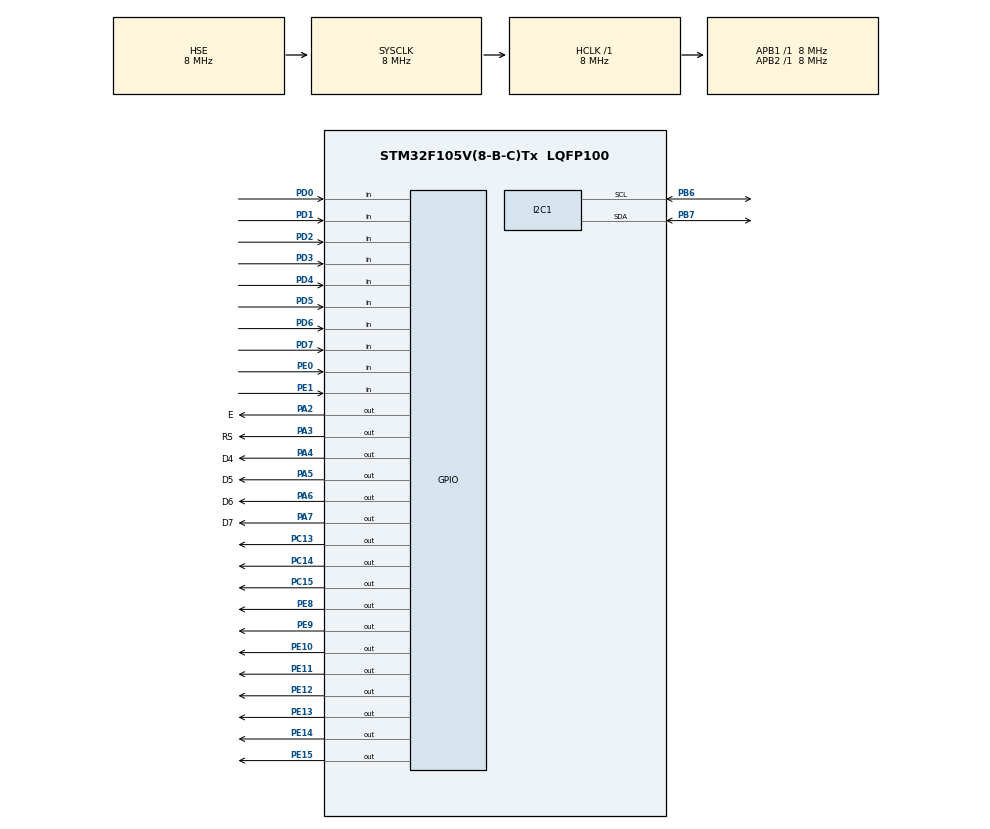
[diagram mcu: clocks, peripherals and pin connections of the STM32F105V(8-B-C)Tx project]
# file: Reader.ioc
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Mcu.Family=STM32F1
Mcu.Name=STM32F105V(8-B-C)Tx
Mcu.Package=LQFP100
NVIC.PriorityGroup=NVIC_PRIORITYGROUP_4
OSC_IN.Mode=HSE-External-Oscillator
OSC_IN.Signal=RCC_OSC_IN
OSC_OUT.Mode=HSE-External-Oscillator
OSC_OUT.Signal=RCC_OSC_OUT
PA13.Mode=Serial_Wire
PA13.Signal=SYS_JTMS-SWDIO
PA14.Mode=Serial_Wire
PA14.Signal=SYS_JTCK-SWCLK
PA2.GPIO_Label=E
PA2.GPIO_ModeDefaultOutputPP=GPIO_MODE_OUTPUT_PP
PA2.GPIO_PuPd=GPIO_PULLDOWN
PA2.GPIO_Speed=GPIO_SPEED_FREQ_LOW
PA2.PinState=GPIO_PIN_RESET
PA2.Signal=GPIO_Output
PA3.GPIO_Label=RS
PA3.GPIO_ModeDefaultOutputPP=GPIO_MODE_OUTPUT_PP
PA3.GPIO_PuPd=GPIO_PULLDOWN
PA3.GPIO_Speed=GPIO_SPEED_FREQ_LOW
PA3.PinState=GPIO_PIN_RESET
PA3.Signal=GPIO_Output
PA4.GPIO_Label=D4
PA4.GPIO_ModeDefaultOutputPP=GPIO_MODE_OUTPUT_PP
PA4.GPIO_PuPd=GPIO_PULLDOWN
PA4.GPIO_Speed=GPIO_SPEED_FREQ_LOW
PA4.PinState=GPIO_PIN_RESET
PA4.Signal=GPIO_Output
PA5.GPIO_Label=D5
PA5.GPIO_ModeDefaultOutputPP=GPIO_MODE_OUTPUT_PP
PA5.GPIO_PuPd=GPIO_PULLDOWN
PA5.GPIO_Speed=GPIO_SPEED_FREQ_LOW
PA5.PinState=GPIO_PIN_RESET
PA5.Signal=GPIO_Output
PA6.GPIO_Label=D6
PA6.GPIO_ModeDefaultOutputPP=GPIO_MODE_OUTPUT_PP
PA6.GPIO_PuPd=GPIO_PULLDOWN
PA6.GPIO_Speed=GPIO_SPEED_FREQ_LOW
PA6.PinState=GPIO_PIN_RESET
PA6.Signal=GPIO_Output
PA7.GPIO_Label=D7
PA7.GPIO_ModeDefaultOutputPP=GPIO_MODE_OUTPUT_PP
PA7.GPIO_PuPd=GPIO_PULLDOWN
PA7.GPIO_Speed=GPIO_SPEED_FREQ_LOW
PA7.PinState=GPIO_PIN_RESET
PA7.Signal=GPIO_Output
PB6.Mode=I2C
PB6.Signal=I2C1_SCL
PB7.Mode=I2C
PB7.Signal=I2C1_SDA
PC13-TAMPER-RTC.GPIO_ModeDefaultOutputPP=GPIO_MODE_OUTPUT_OD
PC13-TAMPER-RTC.GPIO_PuPd=GPIO_NOPULL
PC13-TAMPER-RTC.PinState=GPIO_PIN_RESET
PC13-TAMPER-RTC.Signal=GPIO_Output
PC14-OSC32_IN.GPIO_ModeDefaultOutputPP=GPIO_MODE_OUTPUT_OD
PC14-OSC32_IN.GPIO_PuPd=GPIO_NOPULL
PC14-OSC32_IN.PinState=GPIO_PIN_RESET
PC14-OSC32_IN.Signal=GPIO_Output
PC15-OSC32_OUT.GPIO_ModeDefaultOutputPP=GPIO_MODE_OUTPUT_OD
PC15-OSC32_OUT.GPIO_PuPd=GPIO_NOPULL
PC15-OSC32_OUT.PinState=GPIO_PIN_RESET
PC15-OSC32_OUT.Signal=GPIO_Output
PD0.Signal=GPIO_Input
PD1.Signal=GPIO_Input
PD2.Signal=GPIO_Input
PD3.Signal=GPIO_Input
PD4.Signal=GPIO_Input
PD5.Signal=GPIO_Input
PD6.Signal=GPIO_Input
PD7.Signal=GPIO_Input
PE0.Signal=GPIO_Input
PE1.Signal=GPIO_Input
PE10.Signal=GPIO_Output
PE11.Signal=GPIO_Output
PE12.Signal=GPIO_Output
PE13.Signal=GPIO_Output
PE14.Signal=GPIO_Output
PE15.Signal=GPIO_Output
PE8.Signal=GPIO_Output
PE9.Signal=GPIO_Output
ProjectManager.HeapSize=0x200
ProjectManager.StackSize=0x400
ProjectManager.TargetToolchain=STM32CubeIDE
RCC.AHBFreq_Value=8000000
RCC.APB1Freq_Value=8000000
RCC.APB1TimFreq_Value=8000000
RCC.APB2Freq_Value=8000000
RCC.APB2TimFreq_Value=8000000
RCC.HCLKFreq_Value=8000000
RCC.PLLMUL=RCC_PLL_MUL9
RCC.PLLSourceVirtual=RCC_PLLSOURCE_HSE
RCC.SYSCLKFreq_VALUE=8000000
RCC.SYSCLKSource=RCC_SYSCLKSOURCE_HSE
RCC.USBFreq_Value=48000000
board=custom

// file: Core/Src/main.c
/* USER CODE BEGIN Header */
/**
 ******************************************************************************
 * @file           : main.c
 * @brief          : Main program body
 ******************************************************************************
 * @attention
 *
 * <h2><center>&copy; Copyright (c) 2021 STMicroelectronics.
 * All rights reserved.</center></h2>
 *
 * This software component is licensed by ST under BSD 3-Clause license,
 * the "License"; You may not use this file except in compliance with the
 * License. You may obtain a copy of the License at:
 *                        opensource.org/licenses/BSD-3-Clause
 *
 ******************************************************************************
 */
/* USER CODE END Header */
#include "main.h"
#include "i2c.h"
#include "gpio.h"

/* USER CODE BEGIN Includes */
#include "lcd.h"
#include "macro.h"
#include "memory.h"
#include "DS2482.h"

/* USER CODE END Includes */

void SystemClock_Config(void);
/* USER CODE BEGIN PFP */
void ErrorLed(uint8_t status);
void BusyLed(uint8_t status);
void ReadLed(uint8_t status);
void SelectChannels();
void DrawSelectChannel();
void DrawAnimation();
void RelayControl();
void Rel(int number);
void WriteMemory();
void ReadOWDevice();
void AddressMenu(uint8_t channel);
void StatusPercent(uint8_t per);
uint8_t LinePosition(uint8_t ch);

/* USER CODE END PFP */

/* USER CODE BEGIN 0 */
typedef enum
{
	ON = 1,
	OFF = 0
} LedState;

Lcd_HandleTypeDef lcd;

uint8_t channel[7];
uint8_t sensor[8][8] = {0x00};
uint8_t key = 0;
uint8_t menuposstart = 0;

/* USER CODE END 0 */

int main(void)
{

	/* MCU Configuration--------------------------------------------------------*/

	/* Reset of all peripherals, Initializes the Flash interface and the Systick. */
	HAL_Init();

	/* Configure the system clock */
	SystemClock_Config();

	/* Initialize all configured peripherals */
	MX_GPIO_Init();
	MX_I2C1_Init();
	/* USER CODE BEGIN 2 */
	HAL_Delay(100);
	Lcd_PortType ports[] = {
			D4_GPIO_Port, D5_GPIO_Port, D6_GPIO_Port, D7_GPIO_Port
	};

	Lcd_PinType pins[] = {D4_Pin, D5_Pin, D6_Pin, D7_Pin};

	lcd = Lcd_create(ports, pins, RS_GPIO_Port, RS_Pin, E_GPIO_Port, E_Pin, LCD_4_BIT_MODE);

	Lcd_cursor(&lcd, 0,3);
	Lcd_string(&lcd, "TENDO 4/8");
	Lcd_cursor(&lcd, 1,0);
	Lcd_string(&lcd, "ONE WIRE READER");

	Lcd_clear(&lcd);

	DS2842Reset();
	DS2842Configuration();

	ErrorLed(OFF);
	BusyLed(OFF);
	ReadLed(OFF);

	/* USER CODE END 2 */

	/* Infinite loop */
	while (1)
	{

		/* USER CODE BEGIN 3 */

		switch (key) {
		case 0:

			Lcd_cursor(&lcd, 0,0);
			Lcd_string(&lcd, "SELECT CHANNELS");
			SelectChannels();
			DrawSelectChannel();
			if(HAL_GPIO_ReadPin(GPIOE, GPIO_PIN_0) == 0) //read
			{
				key = 1;
			}

			if(HAL_GPIO_ReadPin(GPIOE, GPIO_PIN_1) == 0) //write
			{
				key = 9;
			}

			break;

		case 1:
			Lcd_clear(&lcd);
			key = 2;
			break;

		case 2:
			DrawAnimation();
			key = 5;
			break;

		case 3:
			Lcd_clear(&lcd);
			key = 4;
			break;

		case 4:
			DrawAnimation();
			key = 7;
			break;

		case 5:
			Lcd_clear(&lcd);
			key = 6;
			break;

		case 6:
			Lcd_cursor(&lcd, 0,0);
			Lcd_string(&lcd, "Press READ to");
			Lcd_cursor(&lcd, 1,0);
			Lcd_string(&lcd, "continue");
			for(;;)
			{
				Lcd_cursor(&lcd, 1,15);
				Lcd_string(&lcd, ">");
				if(HAL_GPIO_ReadPin(GPIOE, GPIO_PIN_0) == 0) //read
				{
					ReadOWDevice();
					key = 7;
					break;
				}
				HAL_Delay(150);
				Lcd_cursor(&lcd, 1,15);
				Lcd_string(&lcd, " ");
				if(HAL_GPIO_ReadPin(GPIOE, GPIO_PIN_0) == 0) //read
				{
					ReadOWDevice();
					key = 7;
					break;
				}
				HAL_Delay(150);
			}

			break;

		case 7:
			AddressMenu(menuposstart);
			key = 8;
			break;

		case 8:

			if(HAL_GPIO_ReadPin(GPIOE, GPIO_PIN_0) == 0) //<R
			{
				if(menuposstart != 0)
				{
					HAL_Delay(150);
					menuposstart = menuposstart - 1;
					key = 7;
				}
			}

			if(HAL_GPIO_ReadPin(GPIOE, GPIO_PIN_1) == 0) //W>
			{
				if(menuposstart != 9)
				{
					HAL_Delay(150);
					menuposstart = menuposstart + 1;
					key = 7;
				}
				if(menuposstart == 9)
				{
					menuposstart = 0;
					Lcd_clear(&lcd);
					for(int k = 0; k<8; k++)
					{
						for(int m = 0; m<8; m++)
						{
							sensor[k][m] = 0;
						}
					}
					key = 0;
				}
			}
			break;
			//-----------------------------------------------------WRITE TO MEMORY--------------------------------------------//
		case 9:
			Lcd_clear(&lcd);
			key = 10;
			break;

		case 10:
			Lcd_cursor(&lcd, 0,0);
			Lcd_string(&lcd, "Insert IC memory ");
			Lcd_cursor(&lcd, 1,0);
			Lcd_string(&lcd, "and press WRITE");
			for(;;)
			{
				Lcd_cursor(&lcd, 1,15);
				Lcd_string(&lcd, ">");
				if(HAL_GPIO_ReadPin(GPIOE, GPIO_PIN_1) == 0) //write
				{
					key = 11;
					break;
				}
				HAL_Delay(150);
				Lcd_cursor(&lcd, 1,15);
				Lcd_string(&lcd, " ");
				if(HAL_GPIO_ReadPin(GPIOE, GPIO_PIN_1) == 0) //write
				{
					key = 11;
					break;
				}
				HAL_Delay(150);
			}
			break;

		case 11:
			Lcd_clear(&lcd);
			key = 12;
			break;

		case 12:

			if(HAL_I2C_IsDeviceReady(&hi2c1, 0xA0, 1, HAL_MAX_DELAY) != HAL_OK)
			{
				ErrorLed(ON);
				Lcd_cursor(&lcd, 0,0);
				Lcd_string(&lcd, "NO MEMORY IC");
				Lcd_cursor(&lcd, 1,0);
				Lcd_string(&lcd, "Check slot");
				key = 13;
			}
			else
			{
				ErrorLed(OFF);
				key = 15;
			}
			break;

		case 13:

			if(HAL_I2C_IsDeviceReady(&hi2c1, 0xA0, 1, HAL_MAX_DELAY) != HAL_OK)
			{
				key = 12;
			}
			else
			{
				key = 14;
			}
			break;

		case 14:
			Lcd_clear(&lcd);
			key = 15;
			break;

		case 15:
			ErrorLed(OFF);
			Lcd_cursor(&lcd, 0,0);
			Lcd_string(&lcd, "OK");
			Lcd_cursor(&lcd, 1,0);
			Lcd_string(&lcd, "Press WRITE");
			for(;;)
			{
				Lcd_cursor(&lcd, 1,15);
				Lcd_string(&lcd, ">");
				if(HAL_GPIO_ReadPin(GPIOE, GPIO_PIN_1) == 0) //read
				{
					key = 16;
					break;
				}
				HAL_Delay(150);
				Lcd_cursor(&lcd, 1,15);
				Lcd_string(&lcd, " ");
				if(HAL_GPIO_ReadPin(GPIOE, GPIO_PIN_1) == 0) //read
				{
					key = 16;
					break;
				}
				HAL_Delay(150);
			}
			break;

		case 16:
			Lcd_clear(&lcd);
			key = 17;
			break;

		case 17:
			ReadOWDevice();
			WriteMemory();
			key = 18;
			break;

		case 18:
			Lcd_clear(&lcd);
			Lcd_cursor(&lcd, 0,0);
			Lcd_string(&lcd, "OK! Press 'W' to");
			Lcd_cursor(&lcd, 1,0);
			Lcd_string(&lcd, "return Main Menu");
			key = 19;
			break;

		case 19:
				if(HAL_GPIO_ReadPin(GPIOE, GPIO_PIN_1) == 0) //read
				{
					Lcd_clear(&lcd);
					key = 0;
					break;
				}
			break;

		}

	}
	/* USER CODE END 3 */
}

void SystemClock_Config(void)
{
	RCC_OscInitTypeDef RCC_OscInitStruct = {0};
	RCC_ClkInitTypeDef RCC_ClkInitStruct = {0};

	/** Initializes the RCC Oscillators according to the specified parameters
	 * in the RCC_OscInitTypeDef structure.
	 */
	RCC_OscInitStruct.OscillatorType = RCC_OSCILLATORTYPE_HSE;
	RCC_OscInitStruct.HSEState = RCC_HSE_ON;
	RCC_OscInitStruct.PLL.PLLState = RCC_PLL_NONE;
	RCC_OscInitStruct.PLL2.PLL2State = RCC_PLL_NONE;
	if (HAL_RCC_OscConfig(&RCC_OscInitStruct) != HAL_OK)
	{
		Error_Handler();
	}
	/** Initializes the CPU, AHB and APB buses clocks
	 */
	RCC_ClkInitStruct.ClockType = RCC_CLOCKTYPE_HCLK|RCC_CLOCKTYPE_SYSCLK
			|RCC_CLOCKTYPE_PCLK1|RCC_CLOCKTYPE_PCLK2;
	RCC_ClkInitStruct.SYSCLKSource = RCC_SYSCLKSOURCE_HSE;
	RCC_ClkInitStruct.AHBCLKDivider = RCC_SYSCLK_DIV1;
	RCC_ClkInitStruct.APB1CLKDivider = RCC_HCLK_DIV1;
	RCC_ClkInitStruct.APB2CLKDivider = RCC_HCLK_DIV1;

	if (HAL_RCC_ClockConfig(&RCC_ClkInitStruct, FLASH_LATENCY_0) != HAL_OK)
	{
		Error_Handler();
	}
	/** Configure the Systick interrupt time
	 */
	__HAL_RCC_PLLI2S_ENABLE();
}

/* USER CODE BEGIN 4 */

void ErrorLed(uint8_t status)
{
	if(status == 0)
	{
		HAL_GPIO_WritePin(GPIOC, GPIO_PIN_13, GPIO_PIN_SET);
	}
	else
	{
		HAL_GPIO_WritePin(GPIOC, GPIO_PIN_13, GPIO_PIN_RESET);
	}
}

void BusyLed(uint8_t status)
{
	if(status == 0)
	{
		HAL_GPIO_WritePin(GPIOC, GPIO_PIN_14, GPIO_PIN_SET);
	}
	else
	{
		HAL_GPIO_WritePin(GPIOC, GPIO_PIN_14, GPIO_PIN_RESET);
	}
}

void ReadLed(uint8_t status)
{
	if(status == 0)
	{
		HAL_GPIO_WritePin(GPIOC, GPIO_PIN_15, GPIO_PIN_SET);
	}
	else
	{
		HAL_GPIO_WritePin(GPIOC, GPIO_PIN_15, GPIO_PIN_RESET);
	}
}

void SelectChannels()
{
	if(HAL_GPIO_ReadPin(GPIOD, GPIO_PIN_0) == 0)
	{
		channel[0] = 1;
	}
	else
	{
		channel[0] = 0;
	}
	if(HAL_GPIO_ReadPin(GPIOD, GPIO_PIN_1) == 0)
	{
		channel[1] = 1;
	}
	else
	{
		channel[1] = 0;
	}
	if(HAL_GPIO_ReadPin(GPIOD, GPIO_PIN_2) == 0)
	{
		channel[2] = 1;
	}
	else
	{
		channel[2] = 0;
	}
	if(HAL_GPIO_ReadPin(GPIOD, GPIO_PIN_3) == 0)
	{
		channel[3] = 1;
	}
	else
	{
		channel[3] = 0;
	}
	if(HAL_GPIO_ReadPin(GPIOD, GPIO_PIN_4) == 0)
	{
		channel[4] = 1;
	}
	else
	{
		channel[4] = 0;
	}
	if(HAL_GPIO_ReadPin(GPIOD, GPIO_PIN_5) == 0)
	{
		channel[5] = 1;
	}
	else
	{
		channel[5] = 0;
	}
	if(HAL_GPIO_ReadPin(GPIOD, GPIO_PIN_6) == 0)
	{
		channel[6] = 1;
	}
	else
	{
		channel[6] = 0;
	}
	if(HAL_GPIO_ReadPin(GPIOD, GPIO_PIN_7) == 0)
	{
		channel[7] = 1;
	}
	else
	{
		channel[7] = 0;
	}
}

void DrawSelectChannel()
{
	if(channel[0] == 0)
	{
		Lcd_cursor(&lcd, 1, 0);
		Lcd_string(&lcd, "1");
	}
	else
	{
		Lcd_cursor(&lcd, 1, 0);
		Lcd_string(&lcd, " ");
	}

	if(channel[1] == 0)
	{
		Lcd_cursor(&lcd, 1, 2);
		Lcd_string(&lcd, "2");
	}
	else
	{
		Lcd_cursor(&lcd, 1, 2);
		Lcd_string(&lcd, " ");
	}

	if(channel[2] == 0)
	{
		Lcd_cursor(&lcd, 1, 4);
		Lcd_string(&lcd, "3");
	}
	else
	{
		Lcd_cursor(&lcd, 1, 4);
		Lcd_string(&lcd, " ");
	}

	if(channel[3] == 0)
	{
		Lcd_cursor(&lcd, 1, 6);
		Lcd_string(&lcd, "4");
	}
	else
	{
		Lcd_cursor(&lcd, 1, 6);
		Lcd_string(&lcd, " ");
	}

	if(channel[4] == 0)
	{
		Lcd_cursor(&lcd, 1, 8);
		Lcd_string(&lcd, "5");
	}
	else
	{
		Lcd_cursor(&lcd, 1, 8);
		Lcd_string(&lcd, " ");
	}

	if(channel[5] == 0)
	{
		Lcd_cursor(&lcd, 1, 10);
		Lcd_string(&lcd, "6");
	}
	else
	{
		Lcd_cursor(&lcd, 1, 10);
		Lcd_string(&lcd, " ");
	}

	if(channel[6] == 0)
	{
		Lcd_cursor(&lcd, 1, 12);
		Lcd_string(&lcd, "7");
	}
	else
	{
		Lcd_cursor(&lcd, 1, 12);
		Lcd_string(&lcd, " ");
	}

	if(channel[7] == 0)
	{
		Lcd_cursor(&lcd, 1, 14);
		Lcd_string(&lcd, "8");
	}
	else
	{
		Lcd_cursor(&lcd, 1, 14);
		Lcd_string(&lcd, " ");
	}
}

void DrawAnimation()
{
	for (int i = 0; i<15; i++)
	{
		Lcd_cursor(&lcd, 0,i);
		Lcd_string(&lcd, ">");
		HAL_Delay(10);
	}
	for (int i = 15; i>0; i--)
	{
		Lcd_cursor(&lcd, 1,i);
		Lcd_string(&lcd, "<");
		HAL_Delay(10);
	}
}

void RelayControl()
{
	for(int i = 0; i<7; i++)
	{
		if(channel[i] == 0)
		{
			Rel(i);
		}
	}
}

void Rel(int number)
{
	switch (number) {
	case 0:
		REL_1(ON); REL_2(OFF); REL_3(OFF); REL_4(OFF); REL_5(OFF); REL_6(OFF); REL_7(OFF); REL_8(OFF);
		break;
	case 1:
		REL_1(OFF); REL_2(ON); REL_3(OFF); REL_4(OFF); REL_5(OFF); REL_6(OFF); REL_7(OFF); REL_8(OFF);
		break;
	case 2:
		REL_1(OFF); REL_2(OFF); REL_3(ON); REL_4(OFF); REL_5(OFF); REL_6(OFF); REL_7(OFF); REL_8(OFF);
		break;
	case 3:
		REL_1(OFF); REL_2(OFF); REL_3(OFF); REL_4(ON); REL_5(OFF); REL_6(OFF); REL_7(OFF); REL_8(OFF);
		break;
	case 4:
		REL_1(OFF); REL_2(OFF); REL_3(OFF); REL_4(OFF); REL_5(ON); REL_6(OFF); REL_7(OFF); REL_8(OFF);
		break;
	case 5:
		REL_1(OFF); REL_2(OFF); REL_3(OFF); REL_4(OFF); REL_5(OFF); REL_6(ON); REL_7(OFF); REL_8(OFF);
		break;
	case 6:
		REL_1(OFF); REL_2(OFF); REL_3(OFF); REL_4(OFF); REL_5(OFF); REL_6(OFF); REL_7(ON); REL_8(OFF);
		break;
	case 7:
		REL_1(OFF); REL_2(OFF); REL_3(OFF); REL_4(OFF); REL_5(OFF); REL_6(OFF); REL_7(OFF); REL_8(ON);
		break;
	default:
		REL_1(OFF); REL_2(OFF); REL_3(OFF); REL_4(OFF); REL_5(OFF); REL_6(OFF); REL_7(OFF); REL_8(OFF);
		break;
	}
}

void WriteMemory()
{
	uint8_t xpos = 0x00;
	BusyLed(ON);
	for(int k = 0; k<8; k++)
	{
		if(channel[k] == 0)
		{
			StatusPercent(k);
		}
		xpos = LinePosition(k);
		for(int i = 0; i<8; i++)
		{
			{
				if(channel[k] == 0)
				{
					writeToMemory(sensor[k][i], 0x00 , xpos);
					xpos = xpos+1;
				}
			}
		}
	}

	Lcd_clear(&lcd);
	Lcd_cursor(&lcd, 1, 6);
	Lcd_string(&lcd, "100%");
	BusyLed(OFF);

}

void ReadOWDevice()
{
	ReadLed(ON);
	Lcd_clear(&lcd);
	for(int k = 0; k<8; k++)
	{
		if(channel[k] == 0)
		{
			Rel(k);
			HAL_Delay(500);
			OWReset();
			OWWriteByte(0x33);
		}

		if(channel[k] == 0)
		{

			for(int i = 0; i<8; i++)
			{
				sensor[k][i] = OWReadByte();
			}

			DS2842Reset();
			OWReset();
		}
	}
	ReadLed(OFF);

}

void AddressMenu(uint8_t channel)
{
	char str[8];
	char ch[2];

	if(channel != 8)
	{
		Lcd_clear(&lcd);
		Lcd_cursor(&lcd, 0, 0);

		for(int i = 0; i<8; i++)
		{
			sprintf(str, "%02X" , sensor[channel][i]);
			Lcd_string(&lcd, str);
		}

		sprintf(ch, "%i" , channel+1);

		Lcd_cursor(&lcd, 1, 3);
		Lcd_string(&lcd, "Channel #");
		Lcd_string(&lcd, ch);
		Lcd_cursor(&lcd, 1, 14);
		Lcd_string(&lcd, "W>");
		if(channel != 0)
		{
			Lcd_cursor(&lcd, 1,0);
			Lcd_string(&lcd, "<R");
		}
	}

	if(channel == 8)
	{
		Lcd_clear(&lcd);
		Lcd_cursor(&lcd, 0, 0);
		Lcd_string(&lcd, "Exit to menu?");
		Lcd_cursor(&lcd, 1, 0);
		Lcd_string(&lcd, "<R(No)");
		Lcd_cursor(&lcd, 1, 9);
		Lcd_string(&lcd, "(Yes)W>");
	}
}

uint8_t LinePosition(uint8_t ch)
{
	return (8*ch);
}

void StatusPercent(uint8_t per)
{
	if(per == 0)
	{
		Lcd_clear(&lcd);
		Lcd_cursor(&lcd, 1, 6);
		Lcd_string(&lcd, "12.5%");
	}
	if(per == 1)
	{
		Lcd_clear(&lcd);
		Lcd_cursor(&lcd, 1, 6);
		Lcd_string(&lcd, "25%");
	}
	if(per == 3)
	{
		Lcd_clear(&lcd);
		Lcd_cursor(&lcd, 1, 6);
		Lcd_string(&lcd, "37.5%");
	}
	if(per == 3)
	{
		Lcd_clear(&lcd);
		Lcd_cursor(&lcd, 1, 6);
		Lcd_string(&lcd, "50%");
	}
	if(per == 4)
	{
		Lcd_clear(&lcd);
		Lcd_cursor(&lcd, 1, 6);
		Lcd_string(&lcd, "62.5%");
	}
	if(per == 5)
	{
		Lcd_clear(&lcd);
		Lcd_cursor(&lcd, 1, 6);
		Lcd_string(&lcd, "75%");
	}
	if(per == 6)
	{
		Lcd_clear(&lcd);
		Lcd_cursor(&lcd, 1, 6);
		Lcd_string(&lcd, "87.5%");
	}
	if(per == 7)
	{
		Lcd_clear(&lcd);
		Lcd_cursor(&lcd, 1, 6);
		Lcd_string(&lcd, "100%");
	}
}

/* USER CODE END 4 */

void Error_Handler(void)
{
}

/************************ (C) COPYRIGHT STMicroelectronics *****END OF FILE****/
